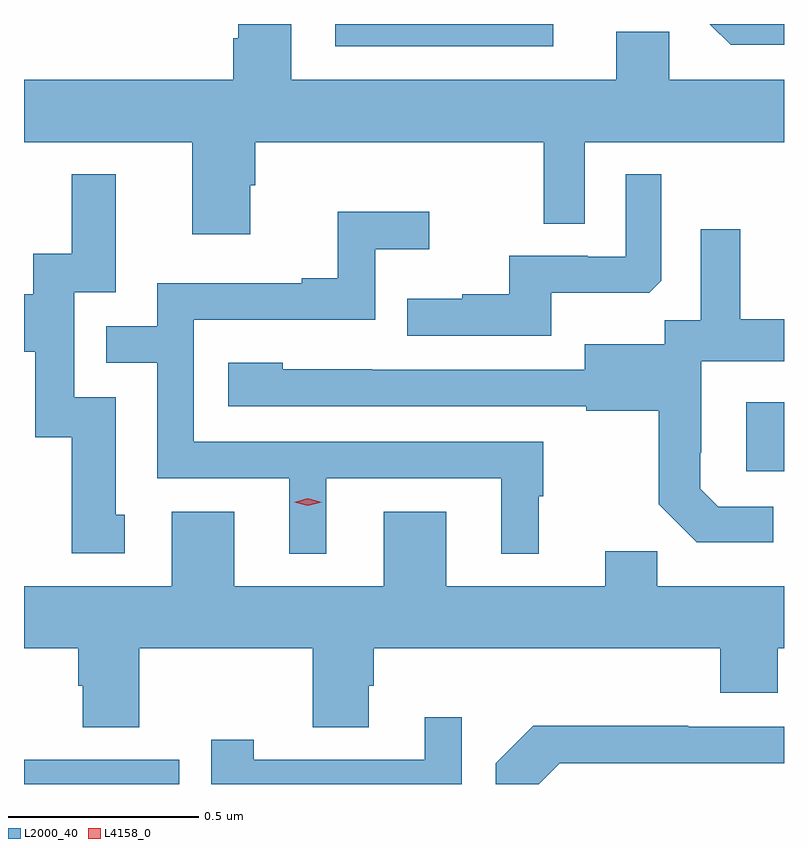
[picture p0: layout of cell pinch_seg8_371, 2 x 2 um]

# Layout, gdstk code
import gdstk
lib = gdstk.Library(unit=1e-6, precision=1e-09)
def R(c, l, rs):  # rectangles x0, y0, x1, y1
    for r in rs: c.add(gdstk.rectangle(r[:2], r[2:], *l))
def P(c, l, *ps):  # polygons
    for p in ps: c.add(gdstk.Polygon(p, *l))
L2000_40 = (2000, 40)
L4158_0 = (4158, 0)

pinch_seg8_371 = lib.new_cell('pinch_seg8_371')
R(pinch_seg8_371, L2000_40, [(453.792,1100.159,454.2,1100.223), (455.693,1100.982,455.792,1101.163), (454.611,1102.101,455.185,1102.159)])
P(pinch_seg8_371, L2000_40, [(455.792,1102.159),(455.597,1102.159),(455.652,1102.104),(455.792,1102.104)],
  [(454.387,1101.735),(454.4,1101.735),(454.4,1101.848),(455.16,1101.848),(455.16,1101.634),(455.268,1101.634),(455.268,1101.848),(455.792,1101.848),(455.792,1102.012),(455.49,1102.012),(455.49,1102.139),(455.351,1102.139),(455.351,1102.012),(454.495,1102.012),(454.495,1102.159),(454.356,1102.159),(454.356,1102.121),(454.343,1102.121),(454.343,1102.012),(453.792,1102.012),(453.792,1101.848),(454.235,1101.848),(454.235,1101.606),(454.387,1101.606)],
  [(455.179,1101.452),(455.437,1101.452),(455.469,1101.483),(455.469,1101.763),(455.376,1101.763),(455.376,1101.546),(455.276,1101.546),(455.276,1101.549),(455.069,1101.549),(455.069,1101.448),(454.945,1101.448),(454.945,1101.436),(454.801,1101.436),(454.801,1101.339),(455.179,1101.339)],
  [(454.057,1100.868),(454.033,1100.868),(454.033,1101.177),(453.924,1101.177),(453.924,1101.453),(454.033,1101.453),(454.033,1101.763),(453.917,1101.763),(453.917,1101.554),(453.816,1101.554),(453.816,1101.448),(453.792,1101.448),(453.792,1101.296),(453.821,1101.296),(453.821,1101.072),(453.917,1101.072),(453.917,1100.766),(454.057,1100.766)],
  [(454.588,1100.964),(455.048,1100.964),(455.048,1100.765),(455.146,1100.765),(455.146,1100.916),(455.158,1100.916),(455.158,1101.06),(454.239,1101.06),(454.239,1101.381),(454.716,1101.381),(454.716,1101.566),(454.858,1101.566),(454.858,1101.665),(454.618,1101.665),(454.618,1101.49),(454.523,1101.49),(454.523,1101.477),(454.143,1101.477),(454.143,1101.363),(454.009,1101.363),(454.009,1101.267),(454.143,1101.267),(454.143,1100.964),(454.49,1100.964),(454.49,1100.765),(454.588,1100.765)],
  [(455.764,1100.889),(455.619,1100.889),(455.572,1100.936),(455.572,1101.031),(455.574,1101.031),(455.574,1101.272),(455.792,1101.272),(455.792,1101.382),(455.677,1101.382),(455.677,1101.619),(455.573,1101.619),(455.573,1101.38),(455.478,1101.38),(455.478,1101.316),(455.267,1101.316),(455.267,1101.249),(454.709,1101.249),(454.709,1101.25),(454.473,1101.25),(454.473,1101.268),(454.329,1101.268),(454.329,1101.153),(455.271,1101.153),(455.271,1101.141),(455.463,1101.141),(455.463,1100.895),(455.563,1100.795),(455.764,1100.795)],
  [(454.095,1100.516),(454.552,1100.516),(454.552,1100.308),(454.699,1100.308),(454.699,1100.418),(454.712,1100.418),(454.712,1100.516),(455.624,1100.516),(455.624,1100.399),(455.776,1100.399),(455.776,1100.516),(455.792,1100.516),(455.792,1100.68),(455.459,1100.68),(455.459,1100.771),(455.321,1100.771),(455.321,1100.68),(454.903,1100.68),(454.903,1100.875),(454.739,1100.875),(454.739,1100.68),(454.345,1100.68),(454.345,1100.875),(454.181,1100.875),(454.181,1100.68),(453.792,1100.68),(453.792,1100.516),(453.935,1100.516),(453.935,1100.418),(453.947,1100.418),(453.947,1100.308),(454.095,1100.308)],
  [(454.944,1100.335),(454.847,1100.335),(454.847,1100.223),(454.396,1100.223),(454.396,1100.275),(454.285,1100.275),(454.285,1100.159),(454.944,1100.159)],
  [(455.202,1100.214),(455.792,1100.214),(455.792,1100.31),(455.54,1100.31),(455.54,1100.312),(455.132,1100.312),(455.034,1100.214),(455.034,1100.159),(455.147,1100.159)])
P(pinch_seg8_371, L4158_0, [(454.539,1100.891),(454.503,1100.901),(454.503,1100.901),(454.503,1100.901),(454.539,1100.911),(454.575,1100.901),(454.575,1100.901),(454.575,1100.901)])

lib.write_gds('pinch_seg8_371.gds')
